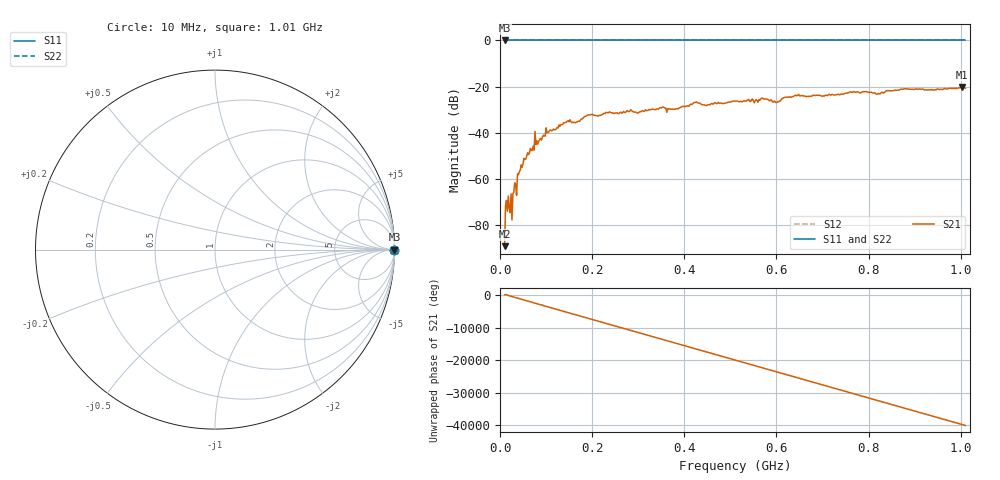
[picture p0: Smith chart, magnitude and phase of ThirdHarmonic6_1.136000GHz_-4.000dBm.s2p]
! 8/16/2025 11:06:08 AM
! C:\ANRITSUVNA\TEMP\TEMP.S2P
! CHANNEL.1
! TR.MEASUREMENT
! RAW.DATA
! RF.CORRECTION.OFF
! AVERAGING.OFF
! IF.BANDWIDTH: 5KHZ
! SWEEPTYPE:  FREQ.SWEEP(Linear)
! Reference Plane Port Info
! PORT:  PORT1  PORT2
! DISTANCE:  0  m  0  m
! TIME:  0  s  0  s
! PHASE.OFFSET:  0  deg.  0  deg.
! LOSS:  0  dB  0  dB
! REF.LOSS:  0  dB  0  dB
! REF.FREQ:  0  Hz  0  Hz
! Power Info
! POWER:  -20  dBm  -20  dBm
! EFF.POWER:  -20  dBm  -20  dBm
! SOURCE.ATTEN:  0  dB  0  dB
! TEST.ATTEN:  0  dB  0  dB
# GHZ S RI R 50.0
! FREQ.GHZ  S11RE  S11IM  S21RE  S21IM  S12RE  S12IM  S22RE  S22IM
!; PortSelection: Port_12
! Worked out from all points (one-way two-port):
!   501 points, 10 MHz to 1.01 GHz, reference 50 ohm
!   highest |S21| = -20.13 dB at 1.002 GHz (marker M1); lowest = -89.3 dB at 10 MHz (marker M2)
!   lowest |S11| = 0.0 dB at 10 MHz (marker M3)
!   |S11| at or under -10 dB: nowhere
!   |S22| runs from 0.0 to 0.0 dB; largest |S21 - S12| = 1.1
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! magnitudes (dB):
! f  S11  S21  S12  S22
! 10 MHz  0.0  -89.3  0.0  0.0
! 16 MHz  0.0  -74.1  0.0  0.0
! 24 MHz  0.0  -66.6  0.0  0.0
! 42 MHz  0.0  -57.0  0.0  0.0
! 76 MHz  0.0  -39.4  0.0  0.0
! 104 MHz  0.0  -39.9  0.0  0.0
! 148 MHz  0.0  -34.8  0.0  0.0
! 178 MHz  0.0  -34.0  0.0  0.0
! 196 MHz  0.0  -32.2  0.0  0.0
! 344 MHz  0.0  -29.8  0.0  0.0
! 382 MHz  0.0  -29.7  0.0  0.0
! 424 MHz  0.0  -26.9  0.0  0.0
! 450 MHz  0.0  -28.0  0.0  0.0
! 510 MHz  0.0  -26.3  0.0  0.0
! 572 MHz  0.0  -25.4  0.0  0.0
! 602 MHz  0.0  -26.7  0.0  0.0
! 644 MHz  0.0  -24.0  0.0  0.0
! 678 MHz  0.0  -23.9  0.0  0.0
! 820 MHz  0.0  -23.1  0.0  0.0
! 844 MHz  0.0  -21.8  0.0  0.0
! 1.002 GHz  0.0  -20.1  0.0  0.0
! 1.01 GHz  0.0  -20.7  0.0  0.0
